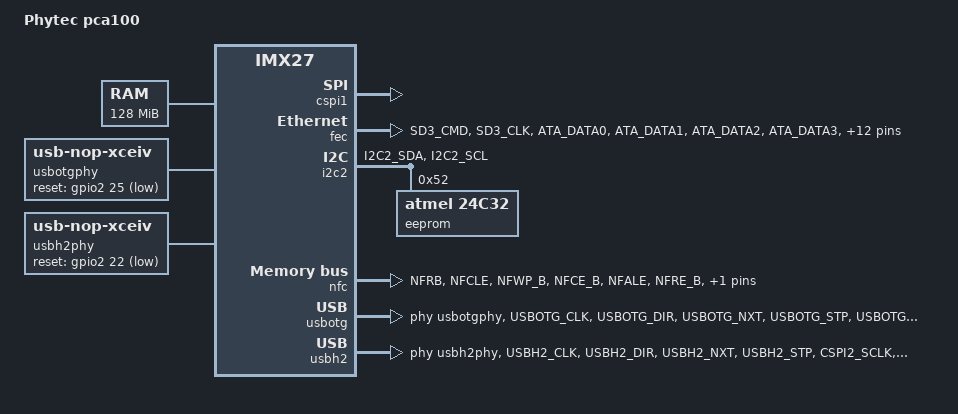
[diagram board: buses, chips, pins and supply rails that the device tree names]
// SPDX-License-Identifier: GPL-2.0-or-later
/*
 * Copyright 2012 Sascha Hauer, Uwe Kleine-König, Steffen Trumtrar
 * and Markus Pargmann, Pengutronix
 */

/dts-v1/;
#include "imx27.dtsi"

/ {
	model = "Phytec pca100";
	compatible = "phytec,imx27-pca100", "fsl,imx27";

	memory@a0000000 {
		device_type = "memory";
		reg = <0xa0000000 0x08000000>; /* 128MB */
	};

	usbotgphy: usbotgphy {
		compatible = "usb-nop-xceiv";
		pinctrl-names = "default";
		pinctrl-0 = <&pinctrl_usbotgphy>;
		reset-gpios = <&gpio2 25 GPIO_ACTIVE_LOW>;
		#phy-cells = <0>;
	};

	usbh2phy: usbh2phy {
		compatible = "usb-nop-xceiv";
		pinctrl-names = "default";
		pinctrl-0 = <&pinctrl_usbh2phy>;
		reset-gpios = <&gpio2 22 GPIO_ACTIVE_LOW>;
		#phy-cells = <0>;
	};
};

&cspi1 {
	cs-gpios = <&gpio4 28 GPIO_ACTIVE_LOW>,
		   <&gpio4 27 GPIO_ACTIVE_LOW>;
	status = "okay";
};

&fec {
	pinctrl-names = "default";
	pinctrl-0 = <&pinctrl_fec1>;
	status = "okay";
};

&i2c2 {
	pinctrl-names = "default";
	pinctrl-0 = <&pinctrl_i2c2>;
	status = "okay";

	eeprom@52 {
		compatible = "atmel,24c32";
		pagesize = <32>;
		reg = <0x52>;
	};
};

&iomuxc {
	imx27-phycard-s-som {
		pinctrl_fec1: fec1grp {
			fsl,pins = <
				MX27_PAD_SD3_CMD__FEC_TXD0 0x0
				MX27_PAD_SD3_CLK__FEC_TXD1 0x0
				MX27_PAD_ATA_DATA0__FEC_TXD2 0x0
				MX27_PAD_ATA_DATA1__FEC_TXD3 0x0
				MX27_PAD_ATA_DATA2__FEC_RX_ER 0x0
				MX27_PAD_ATA_DATA3__FEC_RXD1 0x0
				MX27_PAD_ATA_DATA4__FEC_RXD2 0x0
				MX27_PAD_ATA_DATA5__FEC_RXD3 0x0
				MX27_PAD_ATA_DATA6__FEC_MDIO 0x0
				MX27_PAD_ATA_DATA7__FEC_MDC 0x0
				MX27_PAD_ATA_DATA8__FEC_CRS 0x0
				MX27_PAD_ATA_DATA9__FEC_TX_CLK 0x0
				MX27_PAD_ATA_DATA10__FEC_RXD0 0x0
				MX27_PAD_ATA_DATA11__FEC_RX_DV 0x0
				MX27_PAD_ATA_DATA12__FEC_RX_CLK 0x0
				MX27_PAD_ATA_DATA13__FEC_COL 0x0
				MX27_PAD_ATA_DATA14__FEC_TX_ER 0x0
				MX27_PAD_ATA_DATA15__FEC_TX_EN 0x0
			>;
		};

		pinctrl_i2c2: i2c2grp {
			fsl,pins = <
				MX27_PAD_I2C2_SDA__I2C2_SDA 0x0
				MX27_PAD_I2C2_SCL__I2C2_SCL 0x0
			>;
		};

		pinctrl_nfc: nfcgrp {
			fsl,pins = <
				MX27_PAD_NFRB__NFRB 0x0
				MX27_PAD_NFCLE__NFCLE 0x0
				MX27_PAD_NFWP_B__NFWP_B 0x0
				MX27_PAD_NFCE_B__NFCE_B 0x0
				MX27_PAD_NFALE__NFALE 0x0
				MX27_PAD_NFRE_B__NFRE_B 0x0
				MX27_PAD_NFWE_B__NFWE_B 0x0
			>;
		};

		pinctrl_usbotgphy: usbotgphygrp {
			fsl,pins = <
				MX27_PAD_USBH1_RCV__GPIO2_25		0x1 /* reset gpio */
			>;
		};

		pinctrl_usbotg: usbotggrp {
			fsl,pins = <
				MX27_PAD_USBOTG_CLK__USBOTG_CLK		0x0
				MX27_PAD_USBOTG_DIR__USBOTG_DIR		0x0
				MX27_PAD_USBOTG_NXT__USBOTG_NXT		0x0
				MX27_PAD_USBOTG_STP__USBOTG_STP		0x0
				MX27_PAD_USBOTG_DATA0__USBOTG_DATA0	0x0
				MX27_PAD_USBOTG_DATA1__USBOTG_DATA1	0x0
				MX27_PAD_USBOTG_DATA2__USBOTG_DATA2	0x0
				MX27_PAD_USBOTG_DATA3__USBOTG_DATA3	0x0
				MX27_PAD_USBOTG_DATA4__USBOTG_DATA4	0x0
				MX27_PAD_USBOTG_DATA5__USBOTG_DATA5	0x0
				MX27_PAD_USBOTG_DATA6__USBOTG_DATA6	0x0
				MX27_PAD_USBOTG_DATA7__USBOTG_DATA7	0x0
			>;
		};

		pinctrl_usbh2phy: usbh2phygrp {
			fsl,pins = <
				MX27_PAD_USBH1_SUSP__GPIO2_22		0x0 /* reset gpio */
			>;
		};

		pinctrl_usbh2: usbh2grp {
			fsl,pins = <
				MX27_PAD_USBH2_CLK__USBH2_CLK		0x0
				MX27_PAD_USBH2_DIR__USBH2_DIR		0x0
				MX27_PAD_USBH2_NXT__USBH2_NXT		0x0
				MX27_PAD_USBH2_STP__USBH2_STP		0x0
				MX27_PAD_CSPI2_SCLK__USBH2_DATA0	0x0
				MX27_PAD_CSPI2_MOSI__USBH2_DATA1	0x0
				MX27_PAD_CSPI2_MISO__USBH2_DATA2	0x0
				MX27_PAD_CSPI2_SS1__USBH2_DATA3		0x0
				MX27_PAD_CSPI2_SS2__USBH2_DATA4		0x0
				MX27_PAD_CSPI1_SS2__USBH2_DATA5		0x0
				MX27_PAD_CSPI2_SS0__USBH2_DATA6		0x0
				MX27_PAD_USBH2_DATA7__USBH2_DATA7	0x0
			>;
		};
	};
};

&nfc {
	pinctrl-names = "default";
	pinctrl-0 = <&pinctrl_nfc>;
	nand-bus-width = <8>;
	nand-ecc-mode = "hw";
	nand-on-flash-bbt;
	status = "okay";
};

&usbotg {
	pinctrl-names = "default";
	pinctrl-0 = <&pinctrl_usbotg>;
	phy_type = "ulpi";
	phys = <&usbotgphy>;
	status = "okay";
};

&usbh2 {
	pinctrl-names = "default";
	pinctrl-0 = <&pinctrl_usbh2>;
	phy_type = "ulpi";
	phys = <&usbh2phy>;
	status = "okay";
};
